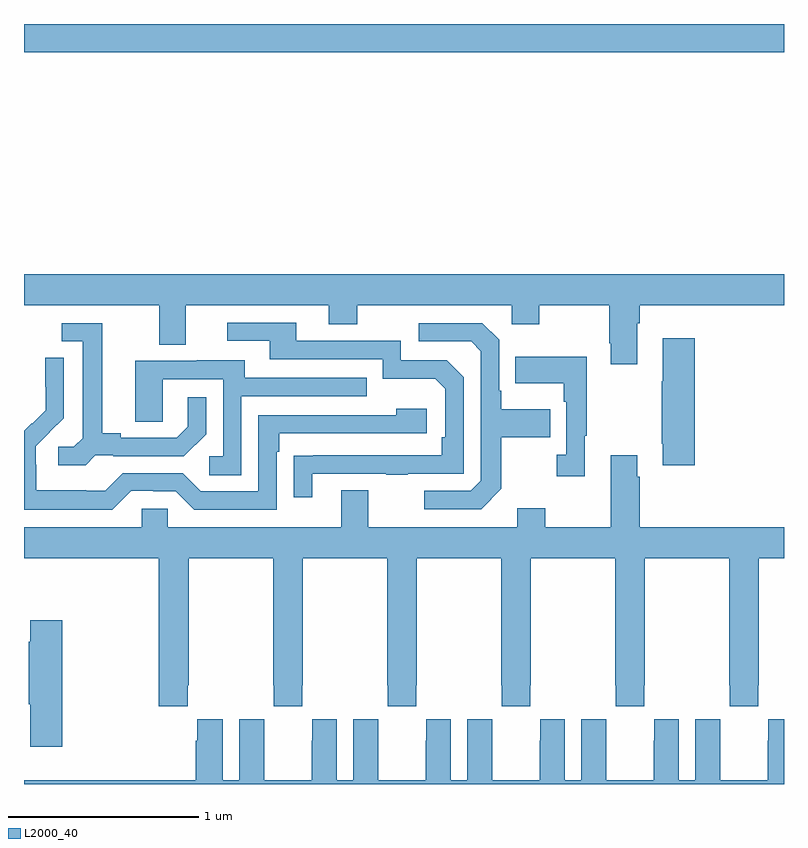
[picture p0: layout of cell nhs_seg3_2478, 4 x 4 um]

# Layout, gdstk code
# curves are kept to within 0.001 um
import gdstk
lib = gdstk.Library(unit=1e-6, precision=1e-09)
def R(c, l, rs):  # rectangles x0, y0, x1, y1
    for r in rs: c.add(gdstk.rectangle(r[:2], r[2:], *l))
def P(c, l, *ps):  # polygons
    for p in ps: c.add(gdstk.Polygon(p, *l))
L2000_40 = (2000, 40)

nhs_seg3_2478 = lib.new_cell('nhs_seg3_2478')
R(nhs_seg3_2478, L2000_40, [(239,698.252,243,698.4)])
P(nhs_seg3_2478, L2000_40, [(239,696.92),(239.711,696.92),(239.711,696.712),(239.851,696.712),(239.851,696.92),(240.605,696.92),(240.605,696.821),(240.753,696.821),(240.753,696.92),(241.566,696.92),(241.566,696.821),(241.713,696.821),(241.713,696.92),(242.08,696.92),(242.08,696.721),(242.087,696.721),(242.087,696.609),(242.227,696.609),(242.227,696.824),(242.24,696.824),(242.24,696.92),(243,696.92),(243,697.084),(239,697.084)],
  [(240.517,696.033),(240.907,696.033),(240.907,696.028),(241.019,696.028),(241.019,696.033),(241.314,696.033),(241.314,696.54),(241.224,696.63),(240.984,696.63),(240.984,696.732),(240.433,696.732),(240.433,696.828),(240.069,696.828),(240.069,696.732),(240.293,696.732),(240.293,696.636),(240.888,696.636),(240.888,696.533),(241.165,696.533),(241.218,696.48),(241.218,696.226),(241.198,696.226),(241.198,696.129),(240.421,696.128),(240.421,695.91),(240.517,695.91)],
  [(241.513,695.953),(241.513,696.226),(241.769,696.226),(241.769,696.373),(241.513,696.373),(241.513,696.469),(241.5,696.469),(241.5,696.738),(241.413,696.825),(241.077,696.825),(241.077,696.729),(241.353,696.729),(241.404,696.678),(241.404,695.997),(241.35,695.943),(241.107,695.943),(241.107,695.847),(241.407,695.847)],
  [(239.376,696.129),(239.47,696.129),(239.47,696.126),(239.842,696.126),(239.958,696.242),(239.958,696.436),(239.861,696.436),(239.861,696.279),(239.804,696.222),(239.509,696.222),(239.509,696.245),(239.413,696.245),(239.413,696.825),(239.199,696.825),(239.199,696.729),(239.309,696.729),(239.309,696.221),(239.262,696.174),(239.181,696.174),(239.181,696.077),(239.324,696.077)],
  [(242.531,696.745),(242.363,696.745),(242.363,696.521),(242.356,696.521),(242.356,696.19),(242.363,696.19),(242.363,696.078),(242.531,696.078)],
  [(241.951,696.233),(241.963,696.233),(241.963,696.649),(241.585,696.649),(241.585,696.509),(241.842,696.509),(241.842,696.413),(241.854,696.413),(241.854,696.134),(241.803,696.134),(241.803,696.021),(241.951,696.021)],
  [(239.565,695.943),(239.681,695.943),(239.681,695.94),(239.799,695.94),(239.895,695.844),(240.33,695.844),(240.33,696.149),(240.343,696.149),(240.343,696.246),(241.12,696.246),(241.12,696.376),(240.959,696.376),(240.959,696.342),(240.234,696.342),(240.234,695.94),(239.931,695.94),(239.835,696.036),(239.52,696.036),(239.427,695.943),(239.327,695.943),(239.327,695.947),(239.064,695.947),(239.064,696.081),(239.062,696.081),(239.062,696.178),(239.208,696.326),(239.208,696.644),(239.112,696.644),(239.112,696.49),(239.114,696.49),(239.114,696.368),(239.043,696.297),(239.04,696.3),(239,696.26),(239,695.843),(239.465,695.843)],
  [(240.144,696.441),(240.803,696.441),(240.803,696.537),(240.163,696.537),(240.163,696.631),(239.909,696.631),(239.909,696.627),(239.585,696.627),(239.585,696.307),(239.73,696.307),(239.73,696.531),(240.048,696.531),(240.048,696.126),(239.976,696.126),(239.976,696.025),(240.144,696.025)],
  [(239.757,695.85),(239.619,695.85),(239.619,695.752),(239,695.752),(239,695.588),(239.708,695.588),(239.708,694.809),(239.861,694.809),(239.861,694.921),(239.868,694.921),(239.868,695.588),(240.313,695.588),(240.313,694.921),(240.315,694.921),(240.315,694.809),(240.465,694.809),(240.465,694.921),(240.468,694.921),(240.468,695.588),(240.913,695.588),(240.913,694.921),(240.915,694.921),(240.915,694.809),(241.065,694.809),(241.065,694.921),(241.068,694.921),(241.068,695.588),(241.513,695.588),(241.513,694.921),(241.515,694.921),(241.515,694.809),(241.665,694.809),(241.665,694.921),(241.668,694.921),(241.668,695.588),(242.113,695.588),(242.113,694.921),(242.115,694.921),(242.115,694.809),(242.265,694.809),(242.265,694.921),(242.268,694.921),(242.268,695.588),(242.713,695.588),(242.713,694.921),(242.715,694.921),(242.715,694.809),(242.865,694.809),(242.865,694.921),(242.868,694.921),(242.868,695.588),(243,695.588),(243,695.752),(242.24,695.752),(242.24,696.017),(242.227,696.017),(242.227,696.13),(242.087,696.13),(242.087,695.752),(241.743,695.752),(241.743,695.851),(241.595,695.851),(241.595,695.752),(240.811,695.752),(240.811,695.947),(240.671,695.947),(240.671,695.752),(239.757,695.752)],
  [(239.201,695.263),(239.033,695.263),(239.033,695.15),(239.026,695.15),(239.026,694.819),(239.033,694.819),(239.033,694.596),(239.201,694.596)],
  [(243,694.741),(242.916,694.741),(242.916,694.628),(242.915,694.628),(242.915,694.42),(242.665,694.42),(242.665,694.628),(242.664,694.628),(242.664,694.741),(242.534,694.741),(242.534,694.42),(242.446,694.42),(242.446,694.741),(242.316,694.741),(242.316,694.628),(242.315,694.628),(242.315,694.42),(242.065,694.42),(242.065,694.628),(242.064,694.628),(242.064,694.741),(241.934,694.741),(241.934,694.42),(241.846,694.42),(241.846,694.741),(241.716,694.741),(241.716,694.628),(241.715,694.628),(241.715,694.42),(241.465,694.42),(241.465,694.628),(241.464,694.628),(241.464,694.741),(241.334,694.741),(241.334,694.42),(241.246,694.42),(241.246,694.741),(241.116,694.741),(241.116,694.628),(241.115,694.628),(241.115,694.42),(240.865,694.42),(240.865,694.628),(240.864,694.628),(240.864,694.741),(240.734,694.741),(240.734,694.42),(240.646,694.42),(240.646,694.741),(240.516,694.741),(240.516,694.628),(240.515,694.628),(240.515,694.42),(240.265,694.42),(240.265,694.628),(240.264,694.628),(240.264,694.741),(240.134,694.741),(240.134,694.42),(240.046,694.42),(240.046,694.741),(239.912,694.741),(239.912,694.628),(239.903,694.628),(239.903,694.42),(239,694.42),(239,694.4),(243,694.4)])

lib.write_gds('nhs_seg3_2478.gds')
